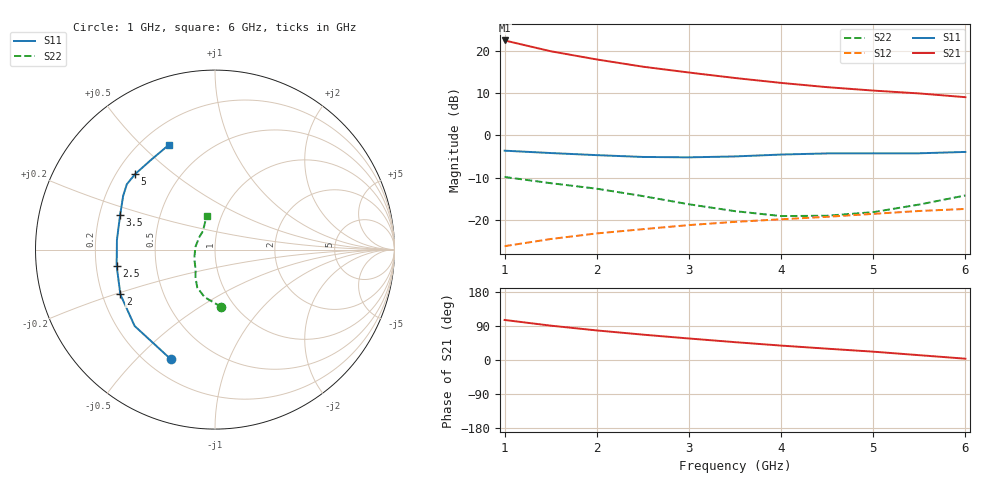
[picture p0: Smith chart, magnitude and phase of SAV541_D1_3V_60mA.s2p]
! Created Mon Oct 27 14:43:21 2008
# hz S ma R 50
! 2 Port Network Data from SP1.SP block
! freq  magS11  angS11  magS21  angS21  magS12  angS12  magS22  angS22
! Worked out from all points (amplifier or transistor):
!   11 points, 1 GHz to 6 GHz, reference 50 ohm
!   highest |S21| = 22.5 dB at 1 GHz (marker M1)
!   |S21| within 3 dB of that: start of sweep to 1.613 GHz
!   unconditionally stable (mu >= 1): 4.53 GHz to end of sweep
!   at 1.5 GHz: K = 0.62, MSG = 22.3 dB, |S12| = -24.6 dB
!   at 3.5 GHz: K = 0.94, MSG = 17.1 dB, |S12| = -20.5 dB
!   at 6 GHz: K = 1.04, MAG = 12.0 dB, |S12| = -17.5 dB
!   S11 on the Smith chart (normalised r, x): 1 GHz: 0.29, -0.63; 2 GHz: 0.28, -0.21; 2.5 GHz: 0.29, -0.07; 3.5 GHz: 0.29, +0.16; 5 GHz: 0.28, +0.37; 6 GHz: 0.31, +0.61
1e9  0.6589 -111.9  13.39 105.7  0.0485 45.2  0.3212 -83.7
1.5e9  0.6177 -136.5  9.973 90.7  0.05898 38.3  0.2712 -102.4
2e9  0.5834 -154.7  7.965 78.0  0.06873 33.9  0.2332 -115.1
2.5e9  0.5551 -170.8  6.541 66.9  0.07714 30.2  0.1906 -124.6
3e9  0.5491 174.2  5.574 56.8  0.08627 26.3  0.1523 -135.4
3.5e9  0.563 159.7  4.801 47.1  0.09425 21.6  0.1263 -156.1
4e9  0.5927 149.7  4.198 38.0  0.1011 17.4  0.1104 172.6
4.5e9  0.6115 143.5  3.736 29.9  0.1082 14.1  0.1114 142.8
5e9  0.6124 136.7  3.405 22.0  0.1172 10.3  0.1229 123.4
5.5e9  0.6136 125.9  3.148 12.7  0.1269 4.9  0.1513 112.7
6e9  0.6369 114.0  2.842 3.4  0.1341 -1.0  0.194 103.8
